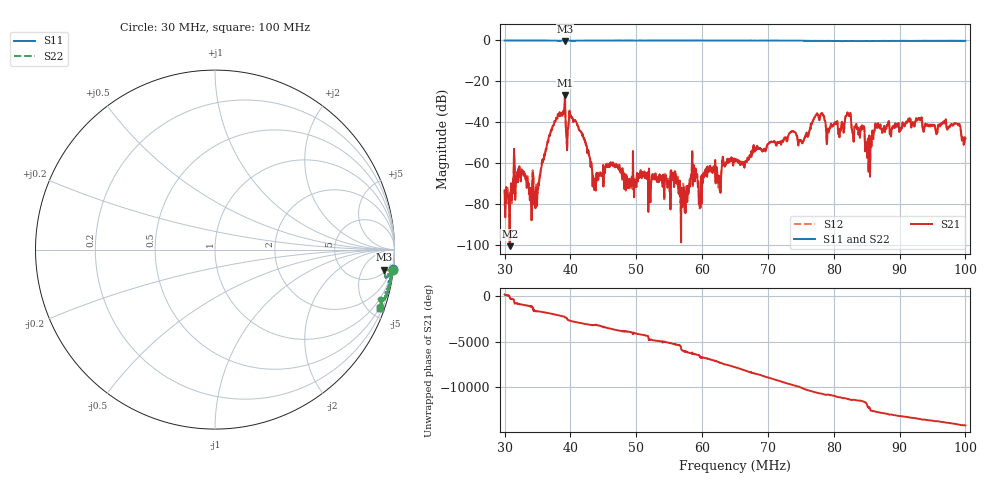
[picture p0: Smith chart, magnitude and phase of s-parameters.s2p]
!  23/08/2022  12:25:10 PM
! Ref Plane: 0.000 mm
# MHZ S MA R  50
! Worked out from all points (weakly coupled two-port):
!   2001 points, 30 MHz to 100 MHz, reference 50 ohm
!   highest |S21| = -26.63 dB at 39.17 MHz (marker M1); lowest = -100.4 dB at 30.77 MHz (marker M2)
!   lowest |S11| = -0.5 dB at 39.17 MHz (marker M3), VSWR 37.60, Z = 313 - j699 ohm
!   |S11| at or under -10 dB: nowhere
!   |S22| runs from -0.5 to 0.0 dB; largest |S21 - S12| = 0.00025
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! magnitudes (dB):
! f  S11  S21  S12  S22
! 30 MHz  0.0  -73.2  -73.1  0.0
! 30.77 MHz  0.0  -100.4  -86.1  0.0
! 32.59 MHz  0.0  -65.2  -64.1  0.0
! 34.76 MHz  0.0  -74.2  -71.3  0.0
! 37.28 MHz  -0.1  -42.1  -42.1  -0.1
! 39.17 MHz  -0.5  -26.6  -26.6  -0.5
! 41.69 MHz  -0.1  -45.2  -45.1  -0.1
! 43.69 MHz  -0.1  -72.8  -70.1  -0.1
! 46.24 MHz  -0.1  -60.2  -60.7  -0.1
! 53.34 MHz  -0.1  -67.6  -66.7  0.0
! 57.58 MHz  -0.1  -74.7  -72.5  -0.1
! 58.77 MHz  -0.1  -60.9  -61.3  -0.1
! 59.68 MHz  -0.1  -80.2  -75.3  -0.1
! 60.87 MHz  -0.1  -62.2  -61.4  -0.1
! 65 MHz  -0.1  -58.8  -59.0  -0.1
! 76.69 MHz  -0.2  -40.5  -40.5  -0.2
! 82.22 MHz  -0.3  -36.4  -36.4  -0.3
! 85.37 MHz  -0.3  -48.6  -48.5  -0.3
! 86.56 MHz  -0.3  -42.6  -42.5  -0.3
! 88.34 MHz  -0.3  -39.5  -39.5  -0.3
! 98.6 MHz  -0.2  -40.6  -40.6  -0.2
! 100 MHz  -0.2  -47.8  -47.9  -0.2
